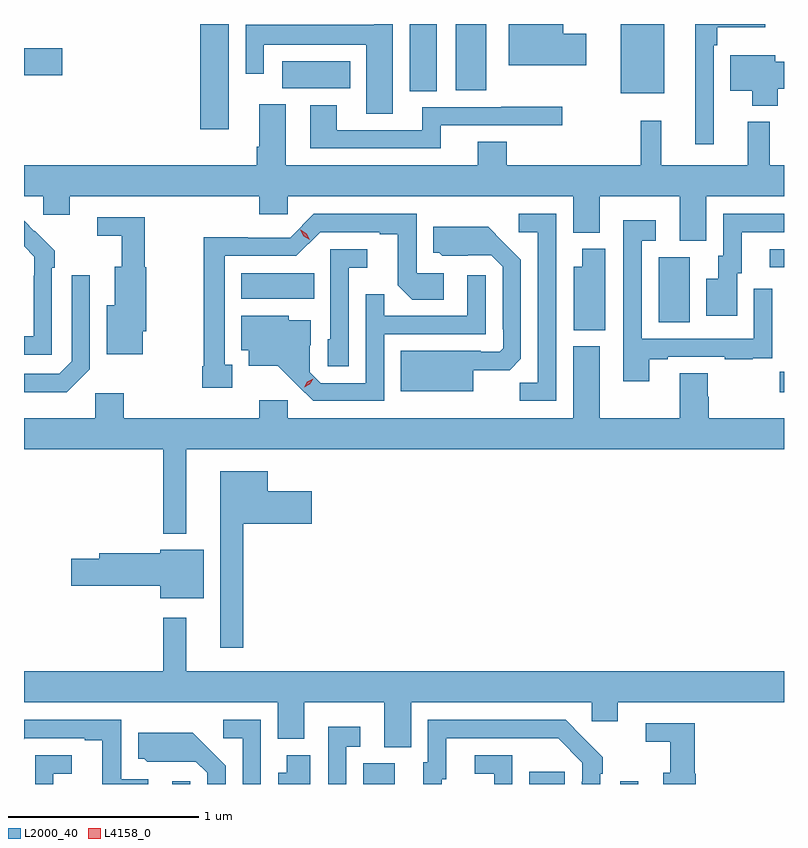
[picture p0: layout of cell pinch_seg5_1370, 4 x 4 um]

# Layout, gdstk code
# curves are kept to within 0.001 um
import gdstk
lib = gdstk.Library(unit=1e-6, precision=1e-09)
def R(c, l, rs):  # rectangles x0, y0, x1, y1
    for r in rs: c.add(gdstk.rectangle(r[:2], r[2:], *l))
def P(c, l, *ps):  # polygons
    for p in ps: c.add(gdstk.Polygon(p, *l))
L2000_40 = (2000, 40)
L4158_0 = (4158, 0)

pinch_seg5_1370 = lib.new_cell('pinch_seg5_1370')
R(pinch_seg5_1370, L2000_40, [(167.421,896.291,167.517,896.305), (168.428,896.291,168.592,896.4), (169.301,896.291,169.489,896.356), (169.779,896.291,169.875,896.305), (170.619,898.352,170.642,898.462), (169.982,898.72,170.146,899.064), (167.786,898.844,168.17,898.978), (170.568,899.01,170.642,899.106), (167.57,899.736,167.719,900.291), (169.784,899.927,170.011,900.291), (168.671,899.938,168.814,900.291), (168.914,899.942,169.075,900.291), (168,899.954,168.358,900.094), (166.642,900.022,166.843,900.164)])
P(pinch_seg5_1370, L2000_40, [(169.6,900.24),(169.48,900.24),(169.48,900.291),(169.193,900.291),(169.193,900.074),(169.6,900.074)],
  [(168.583,900.291),(168.485,900.291),(168.485,900.286),(167.808,900.286),(167.808,900.03),(167.904,900.03),(167.904,900.182),(168.443,900.182),(168.443,899.818),(168.583,899.818)],
  [(170.271,900.179),(170.291,900.179),(170.291,900.275),(170.544,900.275),(170.544,900.291),(170.174,900.291),(170.174,899.658),(170.271,899.658)],
  [(170.609,899.95),(170.642,899.95),(170.642,900.092),(170.596,900.092),(170.596,900.127),(170.36,900.127),(170.36,899.939),(170.474,899.939),(170.474,899.861),(170.609,899.861)],
  [(170.233,899.384),(170.642,899.384),(170.642,899.548),(170.567,899.548),(170.567,899.776),(170.45,899.776),(170.45,899.548),(169.997,899.548),(169.997,899.782),(169.887,899.782),(169.887,899.548),(169.184,899.548),(169.184,899.672),(169.031,899.672),(169.031,899.548),(168.019,899.548),(168.019,899.869),(167.879,899.869),(167.879,899.644),(167.867,899.644),(167.867,899.548),(166.642,899.548),(166.642,899.384),(166.743,899.384),(166.743,899.286),(166.882,899.286),(166.882,899.384),(167.879,899.384),(167.879,899.291),(168.03,899.291),(168.03,899.384),(169.532,899.384),(169.532,899.192),(169.672,899.192),(169.672,899.384),(170.093,899.384),(170.093,899.149),(170.233,899.149)],
  [(168.836,899.757),(169.474,899.757),(169.474,899.856),(169.153,899.856),(169.153,899.853),(168.737,899.853),(168.737,899.733),(168.289,899.733),(168.289,899.863),(168.149,899.863),(168.149,899.637),(168.836,899.637)],
  [(169.443,899.292),(169.245,899.292),(169.245,899.196),(169.347,899.196),(169.347,898.403),(169.252,898.403),(169.252,898.308),(169.443,898.308)],
  [(167.737,898.497),(167.698,898.497),(167.698,899.07),(168.075,899.07),(168.201,899.196),(168.515,899.196),(168.515,899.184),(168.609,899.184),(168.609,898.916),(168.685,898.84),(168.85,898.84),(168.85,898.98),(168.708,898.98),(168.708,899.292),(168.168,899.292),(168.042,899.166),(167.82,899.166),(167.82,899.168),(167.587,899.168),(167.587,898.489),(167.58,898.489),(167.58,898.377),(167.737,898.377)],
  [(170.395,898.98),(170.419,898.98),(170.419,899.196),(170.642,899.196),(170.642,899.292),(170.322,899.292),(170.322,899.07),(170.297,899.07),(170.297,898.951),(170.234,898.951),(170.234,898.755),(170.395,898.755)],
  [(167.266,898.674),(167.286,898.674),(167.286,899.01),(167.278,899.01),(167.278,899.274),(167.028,899.274),(167.028,899.177),(167.157,899.177),(167.157,899.014),(167.12,899.014),(167.12,898.81),(167.078,898.81),(167.078,898.553),(167.266,898.553)],
  [(169.933,898.527),(170.029,898.527),(170.029,898.539),(170.329,898.539),(170.329,898.527),(170.477,898.527),(170.477,898.533),(170.579,898.533),(170.579,898.642),(170.58,898.642),(170.58,898.897),(170.484,898.897),(170.484,898.635),(169.893,898.635),(169.893,899.151),(169.966,899.151),(169.966,899.257),(169.797,899.257),(169.797,898.41),(169.933,898.41)],
  [(166.788,899.009),(166.803,899.009),(166.803,899.097),(166.642,899.256),(166.642,899.12),(166.695,899.067),(166.695,898.967),(166.692,898.967),(166.692,898.647),(166.642,898.647),(166.642,898.551),(166.788,898.551)],
  [(169.006,898.469),(169.198,898.469),(169.257,898.528),(169.257,899.05),(169.085,899.224),(168.797,899.224),(168.797,899.088),(168.828,899.088),(168.844,899.072),(169.101,899.073),(169.161,899.013),(169.161,898.684),(169.164,898.684),(169.164,898.584),(169.146,898.566),(169.046,898.566),(169.046,898.57),(168.626,898.57),(168.626,898.358),(169.006,898.358)],
  [(169.702,899.107),(169.58,899.107),(169.58,899.014),(169.535,899.014),(169.535,898.679),(169.702,898.679)],
  [(168.351,899.009),(168.448,899.009),(168.448,899.106),(168.255,899.106),(168.255,898.632),(168.24,898.632),(168.24,898.489),(168.351,898.489)],
  [(168.537,898.659),(169.071,898.659),(169.071,898.969),(168.975,898.969),(168.975,898.755),(168.539,898.755),(168.539,898.868),(168.441,898.868),(168.441,898.401),(168.204,898.401),(168.147,898.458),(168.147,898.6),(168.151,898.6),(168.151,898.732),(168.036,898.732),(168.036,898.756),(167.786,898.756),(167.786,898.574),(167.825,898.574),(167.825,898.493),(167.977,898.493),(168.164,898.308),(168.537,898.308)],
  [(166.989,898.473),(166.989,898.969),(166.893,898.969),(166.893,898.515),(166.827,898.449),(166.642,898.449),(166.642,898.352),(166.868,898.352)],
  [(167.497,898.052),(170.642,898.052),(170.642,898.216),(170.246,898.216),(170.246,898.329),(170.241,898.329),(170.241,898.454),(170.093,898.454),(170.093,898.216),(169.672,898.216),(169.672,898.594),(169.532,898.594),(169.532,898.216),(168.03,898.216),(168.03,898.312),(167.879,898.312),(167.879,898.216),(167.168,898.216),(167.168,898.348),(167.016,898.348),(167.016,898.216),(166.642,898.216),(166.642,898.052),(167.376,898.052),(167.376,897.608),(167.497,897.608)],
  [(167.797,897.662),(168.157,897.662),(168.157,897.832),(167.926,897.832),(167.926,897.937),(167.675,897.937),(167.675,897.009),(167.797,897.009)],
  [(167.587,897.523),(167.36,897.523),(167.36,897.506),(167.039,897.506),(167.039,897.476),(166.89,897.476),(166.89,897.334),(167.36,897.334),(167.36,897.269),(167.587,897.269)],
  [(168.679,896.72),(169.629,896.72),(169.629,896.622),(169.768,896.622),(169.768,896.72),(170.642,896.72),(170.642,896.884),(167.497,896.884),(167.497,897.166),(167.376,897.166),(167.376,896.884),(166.642,896.884),(166.642,896.72),(167.978,896.72),(167.978,896.528),(168.118,896.528),(168.118,896.72),(168.539,896.72),(168.539,896.485),(168.679,896.485)],
  [(167.889,896.628),(167.691,896.628),(167.691,896.532),(167.793,896.532),(167.793,896.291),(167.889,896.291)],
  [(167.296,896.316),(167.154,896.316),(167.154,896.628),(166.642,896.628),(166.642,896.527),(166.647,896.532),(166.961,896.532),(166.961,896.52),(167.055,896.52),(167.055,896.291),(167.296,896.291)],
  [(168.841,896.316),(168.865,896.316),(168.865,896.532),(169.453,896.532),(169.581,896.403),(169.581,896.303),(169.578,896.303),(169.578,896.291),(169.674,896.291),(169.674,896.345),(169.689,896.345),(169.689,896.433),(169.492,896.628),(168.768,896.628),(168.768,896.406),(168.743,896.406),(168.743,896.291),(168.841,896.291)],
  [(170.177,896.346),(170.171,896.346),(170.171,896.61),(169.914,896.61),(169.914,896.513),(170.043,896.513),(170.043,896.35),(170.006,896.35),(170.006,896.291),(170.177,896.291)],
  [(168.339,896.487),(168.412,896.487),(168.412,896.593),(168.243,896.593),(168.243,896.291),(168.339,896.291)],
  [(167.703,896.386),(167.531,896.56),(167.243,896.56),(167.243,896.424),(167.274,896.424),(167.29,896.408),(167.547,896.409),(167.607,896.349),(167.607,896.291),(167.703,896.291)],
  [(168.148,896.443),(168.026,896.443),(168.026,896.35),(167.981,896.35),(167.981,896.291),(168.148,896.291)],
  [(166.797,896.345),(166.894,896.345),(166.894,896.442),(166.701,896.442),(166.701,896.291),(166.797,896.291)],
  [(169.212,896.442),(169.014,896.442),(169.014,896.346),(169.116,896.346),(169.116,896.291),(169.212,896.291)])
P(pinch_seg5_1370, L4158_0, [(168.116,898.379),(168.116,898.379),(168.133,898.409),(168.164,898.425),(168.164,898.425),(168.164,898.424),(168.147,898.395),(168.116,898.379)],
  [(168.147,899.156),(168.115,899.174),(168.097,899.207),(168.097,899.207),(168.098,899.207),(168.13,899.188),(168.147,899.156),(168.147,899.156)])

lib.write_gds('pinch_seg5_1370.gds')
